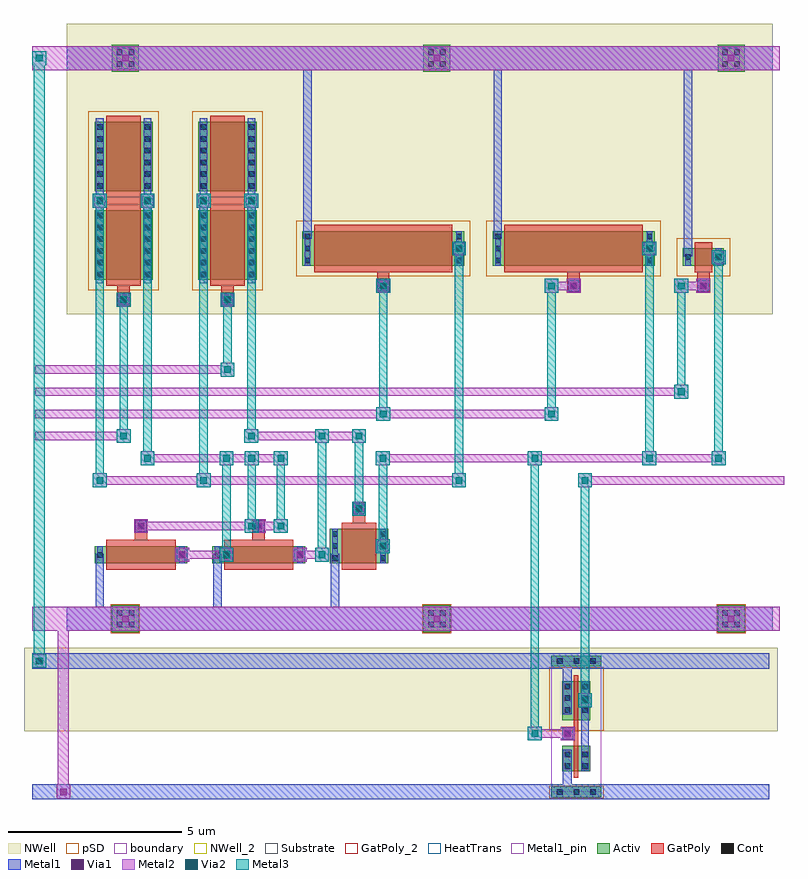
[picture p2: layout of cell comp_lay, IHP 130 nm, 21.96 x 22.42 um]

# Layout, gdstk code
import gdstk
lib = gdstk.Library(unit=1e-6, precision=1e-09)
def R(c, l, rs):  # rectangles x0, y0, x1, y1
    for r in rs: c.add(gdstk.rectangle(r[:2], r[2:], *l))
def A(c, l, x, y, w, h, nx, ny, dx, dy):  # array of equal rectangles
    R(c, l, [(x+i*dx, y+j*dy, x+i*dx+w, y+j*dy+h) for i in range(nx) for j in range(ny)])
def P(c, l, *ps):  # polygons
    for p in ps: c.add(gdstk.Polygon(p, *l))
Activ = (1, 0)
GatPoly = (5, 0)
GatPoly_2 = (5, 2)
Cont = (6, 0)
Metal1 = (8, 0)
Metal1_pin = (8, 2)
Metal2 = (10, 0)
pSD = (14, 0)
Via1 = (19, 0)
Via2 = (29, 0)
Metal3 = (30, 0)
NWell = (31, 0)
NWell_2 = (31, 2)
Substrate = (40, 0)
HeatTrans = (51, 0)
boundary = (189, 4)

nmos_8 = lib.new_cell('nmos$8')
R(nmos_8, Activ, [(0,0,0.3,0.3), (0,0,2.68,0.5), (2.38,0,2.68,0.3)])
R(nmos_8, GatPoly, [(0.34,-0.18,2.34,0.68)])
R(nmos_8, GatPoly_2, [(0.34,-0.18,2.34,0.68)])
R(nmos_8, Cont, [(0.07,0.17,0.23,0.33), (2.45,0.17,2.61,0.33)])
R(nmos_8, Metal1, [(0.07,0,0.23,0.5), (2.45,0,2.61,0.5)])
R(nmos_8, Metal1_pin, [(0.07,0,0.23,0.5), (2.45,0,2.61,0.5)])
R(nmos_8, HeatTrans, [(0.34,-0.18,2.34,0.68)])
nmos_8.add(gdstk.Label('nmos', (1.34,0.25), layer=63, texttype=0))
nmos_8.add(gdstk.Label('nmos', (1.34,0.25), layer=51, texttype=0))

nmos_9 = lib.new_cell('nmos$9')
R(nmos_9, Activ, [(0,0,0.3,0.3), (0,0,1.68,1), (1.38,0,1.68,0.3)])
R(nmos_9, GatPoly, [(0.34,-0.18,1.34,1.18)])
R(nmos_9, GatPoly_2, [(0.34,-0.18,1.34,1.18)])
A(nmos_9, Cont, 0.07, 0.07, 0.16, 0.16, 1, 3, 0, 0.35)
A(nmos_9, Cont, 1.45, 0.07, 0.16, 0.16, 1, 3, 0, 0.35)
R(nmos_9, Metal1, [(0.07,0,0.23,1), (1.45,0,1.61,1)])
R(nmos_9, Metal1_pin, [(0.07,0,0.23,1), (1.45,0,1.61,1)])
R(nmos_9, HeatTrans, [(0.34,-0.18,1.34,1.18)])
nmos_9.add(gdstk.Label('nmos', (0.84,0.5), layer=63, texttype=0))
nmos_9.add(gdstk.Label('nmos', (0.84,0.5), layer=51, texttype=0))

pmos_9 = lib.new_cell('pmos$9')
R(pmos_9, Activ, [(0,0,0.3,0.3), (0,0,1.68,2), (1.38,0,1.68,0.3)])
R(pmos_9, GatPoly, [(0.34,-0.18,1.34,2.18), (0.34,-0.18,1.34,2.18)])
A(pmos_9, Cont, 0.07, 0.07, 0.16, 0.16, 1, 6, 0, 0.34)
A(pmos_9, Cont, 1.45, 0.07, 0.16, 0.16, 1, 6, 0, 0.34)
R(pmos_9, Metal1, [(0.07,0,0.23,2), (0.07,0,0.23,2), (1.45,0,1.61,2), (1.45,0,1.61,2)])
R(pmos_9, pSD, [(-0.18,-0.3,1.86,2.3)])
R(pmos_9, NWell, [(-0.31,-0.31,1.99,2.31)])
R(pmos_9, HeatTrans, [(0.34,-0.18,1.34,2.18)])
pmos_9.add(gdstk.Label('pmos', (0.84,1), layer=63, texttype=0))
pmos_9.add(gdstk.Label('pmos', (0.84,1), layer=51, texttype=0))

pmos = lib.new_cell('pmos')
R(pmos, Activ, [(0,0,0.3,0.3), (0,0,4.68,1), (4.38,0,4.68,0.3)])
R(pmos, GatPoly, [(0.34,-0.18,4.34,1.18), (0.34,-0.18,4.34,1.18)])
A(pmos, Cont, 0.07, 0.07, 0.16, 0.16, 1, 3, 0, 0.35)
A(pmos, Cont, 4.45, 0.07, 0.16, 0.16, 1, 3, 0, 0.35)
R(pmos, Metal1, [(0.07,0,0.23,1), (0.07,0,0.23,1), (4.45,0,4.61,1), (4.45,0,4.61,1)])
R(pmos, pSD, [(-0.18,-0.3,4.86,1.3)])
R(pmos, NWell, [(-0.31,-0.31,4.99,1.31)])
R(pmos, HeatTrans, [(0.34,-0.18,4.34,1.18)])
pmos.add(gdstk.Label('pmos', (2.34,0.5), layer=63, texttype=0))
pmos.add(gdstk.Label('pmos', (2.34,0.5), layer=51, texttype=0))

pmos_2 = lib.new_cell('pmos$2')
R(pmos_2, Activ, [(0,0,0.3,0.3), (0,0,1.18,0.5), (0.88,0,1.18,0.3)])
R(pmos_2, GatPoly, [(0.34,-0.18,0.84,0.68), (0.34,-0.18,0.84,0.68)])
R(pmos_2, Cont, [(0.07,0.17,0.23,0.33), (0.95,0.17,1.11,0.33)])
R(pmos_2, Metal1, [(0.07,0,0.23,0.5), (0.07,0,0.23,0.5), (0.95,0,1.11,0.5), (0.95,0,1.11,0.5)])
R(pmos_2, pSD, [(-0.18,-0.3,1.36,0.8)])
R(pmos_2, NWell, [(-0.31,-0.31,1.49,0.81)])
R(pmos_2, HeatTrans, [(0.34,-0.18,0.84,0.68)])
pmos_2.add(gdstk.Label('pmos', (0.59,0.25), layer=63, texttype=0))
pmos_2.add(gdstk.Label('pmos', (0.59,0.25), layer=51, texttype=0))

std_sg13cmos5l_inv_1 = lib.new_cell('std_sg13cmos5l_inv_1')
R(std_sg13cmos5l_inv_1, Activ, [(0,-0.15,1.44,0.15), (0.31,0.59,1.12,1.33), (0.31,2.075,1.12,3.195), (0,3.63,1.44,3.93)])
P(std_sg13cmos5l_inv_1, GatPoly, [(0.65,0.41),(0.65,1.52),(0.31,1.52),(0.31,1.85),(0.65,1.85),(0.65,3.375),(0.78,3.375),(0.78,0.41)])
A(std_sg13cmos5l_inv_1, Cont, 0.38, 2.285, 0.16, 0.16, 1, 3, 0, 0.34)
A(std_sg13cmos5l_inv_1, Cont, 0.89, 2.285, 0.16, 0.16, 1, 3, 0, 0.34)
R(std_sg13cmos5l_inv_1, Cont, [(0.16,-0.08,0.32,0.08), (0.16,-0.08,0.32,0.08), (0.64,-0.08,0.8,0.08), (0.64,-0.08,0.8,0.08), (1.12,-0.08,1.28,0.08), (1.12,-0.08,1.28,0.08), (0.38,0.66,0.54,0.82), (0.89,0.66,1.05,0.82), (0.38,1,0.54,1.16), (0.89,1,1.05,1.16), (0.395,1.605,0.555,1.765), (0.16,3.7,0.32,3.86), (0.16,3.7,0.32,3.86), (0.64,3.7,0.8,3.86), (0.64,3.7,0.8,3.86), (1.12,3.7,1.28,3.86), (1.12,3.7,1.28,3.86)])
R(std_sg13cmos5l_inv_1, Metal1, [(0.855,0.61,1.085,3.175), (0.31,1.52,0.625,1.85)])
P(std_sg13cmos5l_inv_1, Metal1, [(0,-0.22),(0,0.22),(0.33,0.22),(0.33,1.21),(0.59,1.21),(0.59,0.22),(1.44,0.22),(1.44,-0.22)],
  [(0.33,2.235),(0.33,3.56),(0,3.56),(0,4),(1.44,4),(1.44,3.56),(0.59,3.56),(0.59,2.235)])
R(std_sg13cmos5l_inv_1, pSD, [(-0.07,-0.18,1.51,0.18), (-0.07,1.76,1.51,3.6)])
R(std_sg13cmos5l_inv_1, NWell, [(-0.24,1.75,1.68,4.17)])
R(std_sg13cmos5l_inv_1, boundary, [(0,0,1.44,3.78)])

ntap1 = lib.new_cell('ntap1')
R(ntap1, Activ, [(0,0,0.78,0.78)])
R(ntap1, Cont, [(0.14,0.14,0.3,0.3), (0.48,0.14,0.64,0.3), (0.14,0.48,0.3,0.64), (0.48,0.48,0.64,0.64)])
R(ntap1, Metal1, [(0.14,0.09,0.64,0.69)])
R(ntap1, Metal1_pin, [(0.14,0.09,0.64,0.69), (0.14,0.14,0.64,0.64)])
R(ntap1, NWell, [(-0.24,-0.24,1.02,1.02), (0,0,0.78,0.78)])
R(ntap1, NWell_2, [(0,0,0.78,0.78)])
ntap1.add(gdstk.Label('well', (0.39,0.01), layer=63, texttype=0))
ntap1.add(gdstk.Label('well', (0.39,0.01), layer=31, texttype=0))

ptap1 = lib.new_cell('ptap1')
R(ptap1, Activ, [(0,0,0.78,0.78)])
R(ptap1, Cont, [(0.14,0.14,0.3,0.3), (0.48,0.14,0.64,0.3), (0.14,0.48,0.3,0.64), (0.48,0.48,0.64,0.64)])
R(ptap1, Metal1, [(0.14,0.09,0.64,0.69), (0.14,0.14,0.64,0.64)])
R(ptap1, Metal1_pin, [(0.14,0.14,0.64,0.64)])
R(ptap1, pSD, [(-0.03,-0.03,0.81,0.81)])
R(ptap1, Substrate, [(0,0,0.78,0.78)])
ptap1.add(gdstk.Label('sub!', (0.39,0.01), layer=63, texttype=0))
ptap1.add(gdstk.Label('sub!', (0.39,0.01), layer=40, texttype=0))

comp_lay = lib.new_cell('comp_lay')
R(comp_lay, GatPoly, [(3.16,8.83,3.52,9.28), (6.56,8.83,6.92,9.28), (3.16,9.1,3.52,9.46), (6.56,9.1,6.92,9.46), (9.46,9.33,9.82,9.78), (9.46,9.6,9.82,9.96), (2.66,15.64,3.02,16), (5.66,15.64,6.02,16), (2.66,15.82,3.02,16.27), (5.66,15.82,6.02,16.27), (10.16,16.04,10.52,16.4), (15.66,16.04,16.02,16.4), (19.41,16.04,19.77,16.4), (2.34,16.22,3.34,21.14), (5.34,16.22,6.34,21.14), (10.16,16.22,10.52,16.67), (15.66,16.22,16.02,16.67), (19.41,16.22,19.77,16.67)])
R(comp_lay, Cont, [(3.26,9.2,3.42,9.36), (6.66,9.2,6.82,9.36), (9.56,9.7,9.72,9.86), (2.76,15.74,2.92,15.9), (5.76,15.74,5.92,15.9), (10.26,16.14,10.42,16.3), (15.76,16.14,15.92,16.3), (19.51,16.14,19.67,16.3)])
A(comp_lay, Metal1, 2.03, 6.48, 0.24, 2, 3, 1, 3.4, 0)
R(comp_lay, Metal1, [(0.2,1.38,21.5,1.82), (0.94,1.44,1.26,1.76), (15.56,3.135,15.78,3.435), (16.06,4.1,16.28,4.4), (0.2,5.16,21.5,5.6), (0.24,5.22,0.56,5.54), (1.2,6.25,21.6,6.95), (2.73,6.44,3.05,6.76), (11.73,6.44,12.05,6.76), (20.23,6.44,20.55,6.76), (4.37,8.29,4.69,8.61), (7.77,8.29,8.09,8.61), (10.17,8.54,10.49,8.86), (3.18,9.12,3.5,9.44), (3.18,9.12,3.5,9.44), (6.58,9.12,6.9,9.44), (6.58,9.12,6.9,9.44), (9.48,9.62,9.8,9.94), (9.48,9.62,9.8,9.94), (2.68,15.66,3,15.98), (2.68,15.66,3,15.98), (5.68,15.66,6,15.98), (5.68,15.66,6,15.98), (10.18,16.06,10.5,16.38), (10.18,16.06,10.5,16.38), (15.68,16.06,16,16.38), (15.68,16.06,16,16.38), (19.43,16.06,19.75,16.38), (19.43,16.06,19.75,16.38), (2.04,16.29,2.26,21.07), (3.42,16.29,3.64,21.07), (5.04,16.29,5.26,21.07), (6.42,16.29,6.64,21.07), (19.87,16.89,20.19,17.21), (19.03,17.08,19.27,22.92), (12.37,17.14,12.69,17.46), (17.87,17.14,18.19,17.46), (8.03,17.58,8.27,22.92), (13.53,17.58,13.77,22.92), (1.99,18.52,2.31,18.84), (3.37,18.52,3.69,18.84), (4.99,18.52,5.31,18.84), (6.37,18.52,6.69,18.84), (1.2,22.45,21.6,23.15), (2.73,22.64,3.05,22.96), (11.73,22.64,12.05,22.96), (20.23,22.64,20.55,22.96)])
R(comp_lay, Metal2, [(0.9,1.4,1.3,1.8), (0.94,1.44,1.26,6.76), (14.52,3.085,14.92,3.485), (15.47,3.085,15.87,3.485), (14.6,3.165,15.79,3.405), (15.97,4.05,16.37,4.45), (15.97,4.05,16.37,4.45), (0.2,5.18,0.6,5.58), (0.2,5.18,0.6,5.58), (0.2,6.25,21.8,6.95), (2.69,6.4,3.09,6.8), (11.69,6.4,12.09,6.8), (20.19,6.4,20.59,6.8), (4.33,8.25,4.73,8.65), (5.61,8.25,6.01,8.65), (7.73,8.25,8.13,8.65), (8.37,8.25,8.77,8.65), (4.41,8.33,5.93,8.57), (7.81,8.33,8.69,8.57), (10.13,8.5,10.53,8.9), (10.13,8.5,10.53,8.9), (3.14,9.08,3.54,9.48), (6.34,9.08,6.74,9.48), (6.54,9.08,6.94,9.48), (7.18,9.08,7.58,9.48), (3.22,9.16,6.66,9.4), (6.62,9.16,7.5,9.4), (9.44,9.58,9.84,9.98), (9.44,9.58,9.84,9.98), (1.95,10.4,2.35,10.8), (4.95,10.4,5.35,10.8), (12.33,10.4,12.73,10.8), (15.97,10.4,16.37,10.8), (2.03,10.48,12.65,10.72), (16.05,10.48,21.92,10.72), (3.33,11.04,3.73,11.44), (5.61,11.04,6.01,11.44), (6.34,11.04,6.74,11.44), (7.18,11.04,7.58,11.44), (10.13,11.04,10.53,11.44), (14.52,11.04,14.92,11.44), (17.83,11.04,18.23,11.44), (19.83,11.04,20.23,11.44), (3.41,11.12,7.5,11.36), (10.21,11.12,20.15,11.36), (2.64,11.68,3.04,12.08), (6.33,11.68,6.73,12.08), (8.37,11.68,8.77,12.08), (9.44,11.68,9.84,12.08), (0.28,11.76,2.96,12), (6.41,11.76,9.76,12), (10.14,12.32,10.54,12.72), (15,12.32,15.4,12.72), (0.28,12.4,15.32,12.64), (18.75,12.96,19.15,13.36), (0.28,13.04,19.07,13.28), (5.64,13.6,6.04,14), (0.28,13.68,5.96,13.92), (2.64,15.62,3.04,16.02), (2.64,15.62,3.04,16.02), (5.64,15.62,6.04,16.02), (5.64,15.62,6.04,16.02), (10.14,16.02,10.54,16.42), (10.14,16.02,10.54,16.42), (15,16.02,15.4,16.42), (15.64,16.02,16.04,16.42), (18.75,16.02,19.15,16.42), (19.39,16.02,19.79,16.42), (15.08,16.1,15.96,16.34), (18.83,16.1,19.71,16.34), (19.83,16.85,20.23,17.25), (19.83,16.85,20.23,17.25), (12.33,17.1,12.73,17.5), (12.33,17.1,12.73,17.5), (17.83,17.1,18.23,17.5), (17.83,17.1,18.23,17.5), (1.95,18.48,2.35,18.88), (1.95,18.48,2.35,18.88), (3.33,18.48,3.73,18.88), (3.33,18.48,3.73,18.88), (4.95,18.48,5.35,18.88), (4.95,18.48,5.35,18.88), (6.33,18.48,6.73,18.88), (6.33,18.48,6.73,18.88), (0.2,22.45,21.8,23.15), (0.2,22.6,0.6,23), (2.69,22.6,3.09,23), (11.69,22.6,12.09,23), (20.19,22.6,20.59,23)])
R(comp_lay, Via1, [(1.005,1.505,1.195,1.695), (15.575,3.19,15.765,3.38), (16.075,4.155,16.265,4.345), (0.305,5.285,0.495,5.475), (2.795,6.505,2.985,6.695), (11.795,6.505,11.985,6.695), (20.295,6.505,20.485,6.695), (4.435,8.355,4.625,8.545), (7.835,8.355,8.025,8.545), (10.235,8.605,10.425,8.795), (3.245,9.185,3.435,9.375), (6.645,9.185,6.835,9.375), (9.545,9.685,9.735,9.875), (2.745,15.725,2.935,15.915), (5.745,15.725,5.935,15.915), (10.245,16.125,10.435,16.315), (15.745,16.125,15.935,16.315), (19.495,16.125,19.685,16.315), (19.935,16.955,20.125,17.145), (12.435,17.205,12.625,17.395), (17.935,17.205,18.125,17.395), (2.055,18.585,2.245,18.775), (3.435,18.585,3.625,18.775), (5.055,18.585,5.245,18.775), (6.435,18.585,6.625,18.775), (2.795,22.705,2.985,22.895), (11.795,22.705,11.985,22.895), (20.295,22.705,20.485,22.895)])
R(comp_lay, Via2, [(14.625,3.19,14.815,3.38), (16.075,4.155,16.265,4.345), (0.305,5.285,0.495,5.475), (5.715,8.355,5.905,8.545), (8.475,8.355,8.665,8.545), (10.235,8.605,10.425,8.795), (6.445,9.185,6.635,9.375), (7.285,9.185,7.475,9.375), (9.545,9.685,9.735,9.875), (2.055,10.505,2.245,10.695), (5.055,10.505,5.245,10.695), (12.435,10.505,12.625,10.695), (16.075,10.505,16.265,10.695), (3.435,11.145,3.625,11.335), (5.715,11.145,5.905,11.335), (6.445,11.145,6.635,11.335), (7.285,11.145,7.475,11.335), (10.235,11.145,10.425,11.335), (14.625,11.145,14.815,11.335), (17.935,11.145,18.125,11.335), (19.935,11.145,20.125,11.335), (2.745,11.785,2.935,11.975), (6.435,11.785,6.625,11.975), (8.475,11.785,8.665,11.975), (9.545,11.785,9.735,11.975), (10.245,12.425,10.435,12.615), (15.105,12.425,15.295,12.615), (18.855,13.065,19.045,13.255), (5.745,13.705,5.935,13.895), (2.745,15.725,2.935,15.915), (5.745,15.725,5.935,15.915), (10.245,16.125,10.435,16.315), (15.105,16.125,15.295,16.315), (18.855,16.125,19.045,16.315), (19.935,16.955,20.125,17.145), (12.435,17.205,12.625,17.395), (17.935,17.205,18.125,17.395), (2.055,18.585,2.245,18.775), (3.435,18.585,3.625,18.775), (5.055,18.585,5.245,18.775), (6.435,18.585,6.625,18.775), (0.305,22.705,0.495,22.895)])
R(comp_lay, Metal3, [(14.52,3.085,14.92,3.485), (14.6,3.165,14.84,11.36), (15.97,4.05,16.37,4.45), (16.05,4.13,16.29,10.72), (0.2,5.18,0.6,5.58), (0.24,5.22,0.56,22.96), (5.61,8.25,6.01,8.65), (8.37,8.25,8.77,8.65), (5.69,8.33,5.93,11.36), (8.45,8.33,8.69,12), (10.13,8.5,10.53,8.9), (10.21,8.58,10.45,11.36), (6.34,9.08,6.74,9.48), (7.18,9.08,7.58,9.48), (6.42,9.16,6.66,11.36), (7.26,9.16,7.5,11.36), (9.44,9.58,9.84,9.98), (9.52,9.66,9.76,12), (1.95,10.4,2.35,10.8), (4.95,10.4,5.35,10.8), (12.33,10.4,12.73,10.8), (15.97,10.4,16.37,10.8), (2.03,10.48,2.27,18.8), (5.03,10.48,5.27,18.8), (12.41,10.48,12.65,17.42), (3.33,11.04,3.73,11.44), (5.61,11.04,6.01,11.44), (6.34,11.04,6.74,11.44), (7.18,11.04,7.58,11.44), (10.13,11.04,10.53,11.44), (14.52,11.04,14.92,11.44), (17.83,11.04,18.23,11.44), (19.83,11.04,20.23,11.44), (3.41,11.12,3.65,18.8), (17.91,11.12,18.15,17.42), (19.91,11.12,20.15,17.17), (2.64,11.68,3.04,12.08), (6.33,11.68,6.73,12.08), (8.37,11.68,8.77,12.08), (9.44,11.68,9.84,12.08), (2.72,11.76,2.96,15.94), (6.41,11.76,6.65,18.8), (10.14,12.32,10.54,12.72), (15,12.32,15.4,12.72), (10.22,12.4,10.46,16.34), (15.08,12.4,15.32,16.34), (18.75,12.96,19.15,13.36), (18.83,13.04,19.07,16.34), (5.64,13.6,6.04,14), (5.72,13.68,5.96,15.94), (2.64,15.62,3.04,16.02), (5.64,15.62,6.04,16.02), (10.14,16.02,10.54,16.42), (15,16.02,15.4,16.42), (18.75,16.02,19.15,16.42), (19.83,16.85,20.23,17.25), (12.33,17.1,12.73,17.5), (17.83,17.1,18.23,17.5), (1.95,18.48,2.35,18.88), (3.33,18.48,3.73,18.88), (4.95,18.48,5.35,18.88), (6.33,18.48,6.73,18.88), (0.2,22.6,0.6,23)])
R(comp_lay, NWell, [(-0.04,3.35,21.74,5.77), (1.2,15.4,21.6,23.8)])
comp_lay.add(gdstk.Reference(nmos_8, (2,8.2)))
comp_lay.add(gdstk.Reference(nmos_8, (5.4,8.2)))
comp_lay.add(gdstk.Reference(nmos_9, (8.8,8.2)))
comp_lay.add(gdstk.Reference(pmos_9, (2,16.4)))
comp_lay.add(gdstk.Reference(pmos_9, (2,18.96)))
comp_lay.add(gdstk.Reference(pmos_9, (5,16.4)))
comp_lay.add(gdstk.Reference(pmos_9, (5,18.96)))
comp_lay.add(gdstk.Reference(pmos, (8,16.8)))
comp_lay.add(gdstk.Reference(pmos, (13.5,16.8)))
comp_lay.add(gdstk.Reference(pmos_2, (19,16.8)))
comp_lay.add(gdstk.Reference(std_sg13cmos5l_inv_1, (15.2,1.6)))
comp_lay.add(gdstk.Reference(ntap1, (2.5,22.41)))
comp_lay.add(gdstk.Reference(ntap1, (11.5,22.41)))
comp_lay.add(gdstk.Reference(ntap1, (20,22.41)))
comp_lay.add(gdstk.Reference(ptap1, (2.5,6.21)))
comp_lay.add(gdstk.Reference(ptap1, (11.5,6.21)))
comp_lay.add(gdstk.Reference(ptap1, (20,6.21)))

lib.write_gds('comp_lay.gds')
